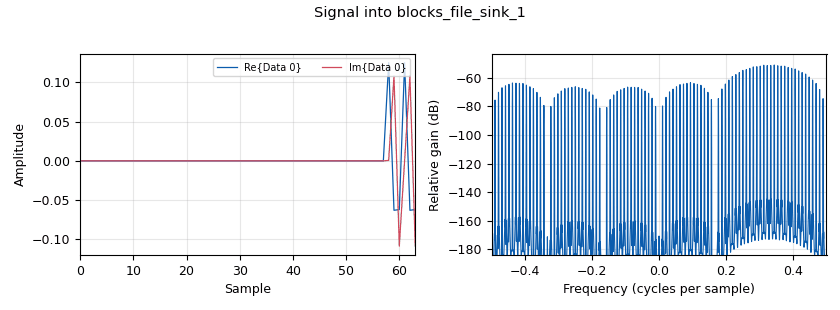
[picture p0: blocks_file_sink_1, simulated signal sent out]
<?xml version='1.0' encoding='utf-8'?>
<?grc format='1' created='3.7.13'?>
<flow_graph>
<block>
<key>options</key>
<param><key>id</key><value>generate_multipath_cal</value></param>
<param><key>author</key><value>Krishna Makhija</value></param>
<param><key>description</key><value>GR flograph for generating a multipath calibration signals.</value></param>
<param><key>generate_options</key><value>qt_gui</value></param>
<param><key>realtime_scheduling</key><value>1</value></param>
<param><key>run_options</key><value>run</value></param>
</block>
<block>
<key>variable</key>
<param><key>id</key><value>OFF</value></param>
<param><key>value</key><value>int(OFF_cycles*samps_per_period)</value></param>
</block>
<block>
<key>variable</key>
<param><key>id</key><value>OFF_cycles</value></param>
<param><key>value</key><value>15*ON_cycles</value></param>
</block>
<block>
<key>variable</key>
<param><key>id</key><value>OFF_time</value></param>
<param><key>value</key><value>OFF/samp_rate</value></param>
</block>
<block>
<key>variable</key>
<param><key>id</key><value>ON</value></param>
<param><key>value</key><value>int(ON_cycles*samps_per_period)</value></param>
</block>
<block>
<key>variable</key>
<param><key>id</key><value>ON_cycles</value></param>
<param><key>value</key><value>2</value></param>
</block>
<block>
<key>variable</key>
<param><key>id</key><value>ON_time</value></param>
<param><key>value</key><value>ON/samp_rate</value></param>
</block>
<block>
<key>variable</key>
<param><key>id</key><value>PASS</value></param>
<param><key>_enabled</key><value>0</value></param>
<param><key>value</key><value>ON+OFF</value></param>
</block>
<block>
<key>variable</key>
<param><key>id</key><value>TX_time</value></param>
<param><key>comment</key><value>Time to calibrate per WP.</value></param>
<param><key>value</key><value>pulse_time * total_pulses</value></param>
</block>
<block>
<key>variable</key>
<param><key>id</key><value>WAIT</value></param>
<param><key>_enabled</key><value>0</value></param>
<param><key>value</key><value>ON+OFF</value></param>
</block>
<block>
<key>variable</key>
<param><key>id</key><value>center_freq</value></param>
<param><key>comment</key><value>The frequency at which the beam is being sampled.</value></param>
<param><key>value</key><value>150e6</value></param>
</block>
<block>
<key>variable</key>
<param><key>id</key><value>duty_cycle</value></param>
<param><key>value</key><value>OFF/ON</value></param>
</block>
<block>
<key>variable</key>
<param><key>id</key><value>excess_bw</value></param>
<param><key>_enabled</key><value>0</value></param>
<param><key>value</key><value>0.35</value></param>
</block>
<block>
<key>variable</key>
<param><key>id</key><value>freq</value></param>
<param><key>value</key><value>center_freq - wave_freq</value></param>
</block>
<block>
<key>variable_qtgui_range</key>
<param><key>id</key><value>gain</value></param>
<param><key>value</key><value>20</value></param>
<param><key>_enabled</key><value>0</value></param>
<param><key>label</key><value>TX Gain</value></param>
<param><key>orient</key><value>Qt.Horizontal</value></param>
<param><key>start</key><value>0</value></param>
<param><key>step</key><value>1</value></param>
<param><key>stop</key><value>100</value></param>
</block>
<block>
<key>variable</key>
<param><key>id</key><value>gain</value></param>
<param><key>value</key><value>20</value></param>
</block>
<block>
<key>variable</key>
<param><key>id</key><value>head</value></param>
<param><key>value</key><value>72000</value></param>
</block>
<block>
<key>variable</key>
<param><key>id</key><value>min_buffer</value></param>
<param><key>value</key><value>512*4096</value></param>
</block>
<block>
<key>variable</key>
<param><key>id</key><value>pulse_time</value></param>
<param><key>value</key><value>(ON+OFF)/samp_rate</value></param>
</block>
<block>
<key>variable</key>
<param><key>id</key><value>pulses</value></param>
<param><key>comment</key><value>This is how many times cal_sequence will 
loop over the file being generated.</value></param>
<param><key>value</key><value>96</value></param>
</block>
<block>
<key>variable_constellation_rect</key>
<param><key>id</key><value>qpsk</value></param>
<param><key>const_points</key><value>[0.707+0.707j, -0.707+0.707j, -0.707-0.707j, 0.707-0.707j]</value></param>
<param><key>_enabled</key><value>0</value></param>
<param><key>imag_sect</key><value>2</value></param>
<param><key>real_sect</key><value>2</value></param>
<param><key>rot_sym</key><value>4</value></param>
<param><key>sym_map</key><value>[0, 1, 2, 3]</value></param>
<param><key>w_imag_sect</key><value>1</value></param>
<param><key>w_real_sect</key><value>1</value></param>
</block>
<block>
<key>variable</key>
<param><key>id</key><value>ring_buffer_size</value></param>
<param><key>value</key><value>4096</value></param>
</block>
<block>
<key>variable</key>
<param><key>id</key><value>samp_rate</value></param>
<param><key>value</key><value>7.5e6</value></param>
</block>
<block>
<key>variable</key>
<param><key>id</key><value>samps_per_period</value></param>
<param><key>value</key><value>wave_samp_rate/wave_freq</value></param>
</block>
<block>
<key>variable</key>
<param><key>id</key><value>sps</value></param>
<param><key>_enabled</key><value>0</value></param>
<param><key>value</key><value>4</value></param>
</block>
<block>
<key>variable</key>
<param><key>id</key><value>total_pulses</value></param>
<param><key>comment</key><value>Total number of pulses (averages) one
will receive after calibration.</value></param>
<param><key>value</key><value>pulses * (head/(ON+OFF))</value></param>
</block>
<block>
<key>variable</key>
<param><key>id</key><value>wave_freq</value></param>
<param><key>value</key><value>samp_rate/3</value></param>
</block>
<block>
<key>variable</key>
<param><key>id</key><value>wave_samp_rate</value></param>
<param><key>value</key><value>samp_rate</value></param>
</block>
<block>
<key>analog_sig_source_x</key>
<param><key>id</key><value>analog_sig_source_x_0</value></param>
<param><key>amp</key><value>0.25</value></param>
<param><key>freq</key><value>wave_freq</value></param>
<param><key>offset</key><value>0</value></param>
<param><key>type</key><value>complex</value></param>
<param><key>samp_rate</key><value>wave_samp_rate</value></param>
<param><key>waveform</key><value>analog.GR_COS_WAVE</value></param>
</block>
<block>
<key>blocks_add_xx</key>
<param><key>id</key><value>blocks_add_xx_0</value></param>
<param><key>_enabled</key><value>0</value></param>
<param><key>type</key><value>complex</value></param>
</block>
<block>
<key>blocks_file_sink</key>
<param><key>id</key><value>blocks_file_sink_1</value></param>
<param><key>file</key><value>/home/kmakhija/catkin_ws/src/Drone-Project-code/Payload Computer/multipath_cal</value></param>
<param><key>type</key><value>complex</value></param>
</block>
<block>
<key>blocks_file_source</key>
<param><key>id</key><value>blocks_file_source_0</value></param>
<param><key>_enabled</key><value>0</value></param>
<param><key>file</key><value>/home/kmakhija/Drone-Project/Payload Computer/keyword.dat</value></param>
<param><key>maxoutbuf</key><value>ring_buffer_size</value></param>
<param><key>minoutbuf</key><value>ring_buffer_size</value></param>
<param><key>type</key><value>byte</value></param>
<param><key>repeat</key><value>True</value></param>
</block>
<block>
<key>blocks_file_source</key>
<param><key>id</key><value>blocks_file_source_1</value></param>
<param><key>_enabled</key><value>0</value></param>
<param><key>file</key><value>/home/kmakhija/catkin_ws/src/Drone-Project-code/Payload Computer/multipath_cal</value></param>
<param><key>type</key><value>complex</value></param>
<param><key>repeat</key><value>True</value></param>
</block>
<block>
<key>blocks_head</key>
<param><key>id</key><value>blocks_head_0_0_0</value></param>
<param><key>num_items</key><value>head</value></param>
<param><key>type</key><value>complex</value></param>
</block>
<block>
<key>blocks_multiply_const_vxx</key>
<param><key>id</key><value>blocks_multiply_const_vxx_0</value></param>
<param><key>const</key><value>0.5</value></param>
<param><key>type</key><value>complex</value></param>
</block>
<block>
<key>blocks_multiply_xx</key>
<param><key>id</key><value>blocks_multiply_xx_0</value></param>
<param><key>type</key><value>complex</value></param>
<param><key>maxoutbuf</key><value>ring_buffer_size</value></param>
<param><key>minoutbuf</key><value>ring_buffer_size</value></param>
</block>
<block>
<key>blocks_throttle</key>
<param><key>id</key><value>blocks_throttle_0</value></param>
<param><key>maxoutbuf</key><value>ring_buffer_size</value></param>
<param><key>minoutbuf</key><value>ring_buffer_size</value></param>
<param><key>samples_per_second</key><value>samp_rate</value></param>
<param><key>type</key><value>complex</value></param>
</block>
<block>
<key>blocks_throttle</key>
<param><key>id</key><value>blocks_throttle_0_0</value></param>
<param><key>_enabled</key><value>0</value></param>
<param><key>maxoutbuf</key><value>ring_buffer_size</value></param>
<param><key>minoutbuf</key><value>ring_buffer_size</value></param>
<param><key>samples_per_second</key><value>samp_rate</value></param>
<param><key>type</key><value>complex</value></param>
</block>
<block>
<key>blocks_vector_source_x</key>
<param><key>id</key><value>blocks_vector_source_x_0</value></param>
<param><key>maxoutbuf</key><value>ring_buffer_size</value></param>
<param><key>minoutbuf</key><value>ring_buffer_size</value></param>
<param><key>type</key><value>complex</value></param>
<param><key>repeat</key><value>True</value></param>
<param><key>vector</key><value>np.hstack((np.zeros(OFF), np.ones(ON)))</value></param>
</block>
<block>
<key>blocks_vector_source_x</key>
<param><key>id</key><value>blocks_vector_source_x_1</value></param>
<param><key>comment</key><value>Create an initialization pulse that has higher amplitude for 
identification during post processing.</value></param>
<param><key>_enabled</key><value>0</value></param>
<param><key>type</key><value>complex</value></param>
<param><key>repeat</key><value>True</value></param>
<param><key>vector</key><value>np.hstack((2*np.ones(ON), np.zeros(OFF), np.zeros(pulses*PASS)))</value></param>
</block>
<block>
<key>parameter</key>
<param><key>id</key><value>device_add_1</value></param>
<param><key>type</key><value>string</value></param>
<param><key>value</key><value>serial=31993F7, recv_frame_size=8200, num_recv_frames=512, fpga=usrp_b210_fpga.bin, fw=usrp_b200_fw.hex</value></param>
</block>
<block>
<key>parameter</key>
<param><key>id</key><value>device_add_2</value></param>
<param><key>type</key><value>string</value></param>
<param><key>value</key><value>serial=319940D, recv_frame_size=8200, num_recv_frames=512, fpga=usrp_b210_fpga.bin, fw=usrp_b200_fw.hex</value></param>
</block>
<block>
<key>parameter</key>
<param><key>id</key><value>device_add_mini_0</value></param>
<param><key>label</key><value>B205mini</value></param>
<param><key>type</key><value>string</value></param>
<param><key>value</key><value>serial=313B5A2, recv_frame_size=8200, num_recv_frames=512</value></param>
</block>
<block>
<key>parameter</key>
<param><key>id</key><value>device_gpsdo_1</value></param>
<param><key>type</key><value>string</value></param>
<param><key>value</key><value>serial=319098E, recv_frame_size=8200, num_recv_frames=512, fpga=usrp_b210_fpga.bin, fw=usrp_b200_fw.hex</value></param>
</block>
<block>
<key>parameter</key>
<param><key>id</key><value>device_gpsdo_2</value></param>
<param><key>type</key><value>string</value></param>
<param><key>value</key><value>serial=31909C2, recv_frame_size=8200, num_recv_frames=512, fpga=usrp_b210_fpga.bin, fw=usrp_b200_fw.hex</value></param>
</block>
<block>
<key>digital_constellation_modulator</key>
<param><key>id</key><value>digital_constellation_modulator_0</value></param>
<param><key>constellation</key><value>qpsk</value></param>
<param><key>differential</key><value>True</value></param>
<param><key>_enabled</key><value>0</value></param>
<param><key>excess_bw</key><value>excess_bw</value></param>
<param><key>maxoutbuf</key><value>ring_buffer_size</value></param>
<param><key>minoutbuf</key><value>ring_buffer_size</value></param>
<param><key>samples_per_symbol</key><value>sps</value></param>
</block>
<block>
<key>import</key>
<param><key>id</key><value>import_0</value></param>
<param><key>import</key><value>import numpy as np</value></param>
</block>
<block>
<key>qtgui_freq_sink_x</key>
<param><key>id</key><value>qtgui_freq_sink_x_0</value></param>
<param><key>bw</key><value>samp_rate</value></param>
<param><key>fc</key><value>0</value></param>
<param><key>_enabled</key><value>0</value></param>
<param><key>fftsize</key><value>1024</value></param>
<param><key>showports</key><value>True</value></param>
<param><key>type</key><value>complex</value></param>
<param><key>wintype</key><value>firdes.WIN_BLACKMAN_hARRIS</value></param>
</block>
<block>
<key>qtgui_time_sink_x</key>
<param><key>id</key><value>qtgui_time_sink_x_0</value></param>
<param><key>ctrlpanel</key><value>True</value></param>
<param><key>_enabled</key><value>0</value></param>
<param><key>color1</key><value>"blue"</value></param>
<param><key>label1</key><value></value></param>
<param><key>color2</key><value>"red"</value></param>
<param><key>label2</key><value></value></param>
<param><key>size</key><value>1024</value></param>
<param><key>srate</key><value>samp_rate</value></param>
<param><key>type</key><value>complex</value></param>
</block>
<block>
<key>uhd_usrp_sink</key>
<param><key>id</key><value>uhd_usrp_sink_0</value></param>
<param><key>ant0</key><value></value></param>
<param><key>center_freq0</key><value>freq</value></param>
<param><key>norm_gain0</key><value>False</value></param>
<param><key>gain0</key><value>gain</value></param>
<param><key>clock_rate</key><value>0.0</value></param>
<param><key>comment</key><value>NOTE: 
ON_cycles = no. of cycles for RF when ON
ON = no. of samps for RF ON
OFF_cycles = no. of cycles for RF OFF
OFF = no. of samps for RF OFF
pulses = no. of cycles of RF ON+OFF
head = pulses(ON + OFF)</value></param>
<param><key>dev_addr</key><value>device_address_1</value></param>
<param><key>dev_args</key><value>""</value></param>
<param><key>_enabled</key><value>0</value></param>
<param><key>type</key><value>fc32</value></param>
<param><key>clock_source0</key><value>external</value></param>
<param><key>sd_spec0</key><value>A:A</value></param>
<param><key>samp_rate</key><value>samp_rate</value></param>
<param><key>hide_cmd_port</key><value>False</value></param>
<param><key>hide_lo_controls</key><value>True</value></param>
<param><key>sync</key><value></value></param>
<param><key>len_tag_name</key><value></value></param>
<param><key>otw</key><value>sc16</value></param>
</block>
<connection><source_block_id>analog_sig_source_x_0</source_block_id><sink_block_id>blocks_multiply_xx_0</sink_block_id><source_key>0</source_key><sink_key>0</sink_key></connection>
<connection><source_block_id>blocks_add_xx_0</source_block_id><sink_block_id>blocks_multiply_xx_0</sink_block_id><source_key>0</source_key><sink_key>1</sink_key></connection>
<connection><source_block_id>blocks_file_source_0</source_block_id><sink_block_id>digital_constellation_modulator_0</sink_block_id><source_key>0</source_key><sink_key>0</sink_key></connection>
<connection><source_block_id>blocks_file_source_1</source_block_id><sink_block_id>blocks_throttle_0_0</sink_block_id><source_key>0</source_key><sink_key>0</sink_key></connection>
<connection><source_block_id>blocks_head_0_0_0</source_block_id><sink_block_id>blocks_file_sink_1</sink_block_id><source_key>0</source_key><sink_key>0</sink_key></connection>
<connection><source_block_id>blocks_multiply_const_vxx_0</source_block_id><sink_block_id>blocks_head_0_0_0</sink_block_id><source_key>0</source_key><sink_key>0</sink_key></connection>
<connection><source_block_id>blocks_multiply_xx_0</source_block_id><sink_block_id>blocks_throttle_0</sink_block_id><source_key>0</source_key><sink_key>0</sink_key></connection>
<connection><source_block_id>blocks_throttle_0</source_block_id><sink_block_id>blocks_multiply_const_vxx_0</sink_block_id><source_key>0</source_key><sink_key>0</sink_key></connection>
<connection><source_block_id>blocks_throttle_0_0</source_block_id><sink_block_id>qtgui_freq_sink_x_0</sink_block_id><source_key>0</source_key><sink_key>0</sink_key></connection>
<connection><source_block_id>blocks_throttle_0_0</source_block_id><sink_block_id>qtgui_time_sink_x_0</sink_block_id><source_key>0</source_key><sink_key>0</sink_key></connection>
<connection><source_block_id>blocks_vector_source_x_0</source_block_id><sink_block_id>blocks_add_xx_0</sink_block_id><source_key>0</source_key><sink_key>0</sink_key></connection>
<connection><source_block_id>blocks_vector_source_x_0</source_block_id><sink_block_id>blocks_multiply_xx_0</sink_block_id><source_key>0</source_key><sink_key>1</sink_key></connection>
<connection><source_block_id>blocks_vector_source_x_1</source_block_id><sink_block_id>blocks_add_xx_0</sink_block_id><source_key>0</source_key><sink_key>1</sink_key></connection>
<connection><source_block_id>digital_constellation_modulator_0</source_block_id><sink_block_id>blocks_multiply_xx_0</sink_block_id><source_key>0</source_key><sink_key>0</sink_key></connection>
</flow_graph>
